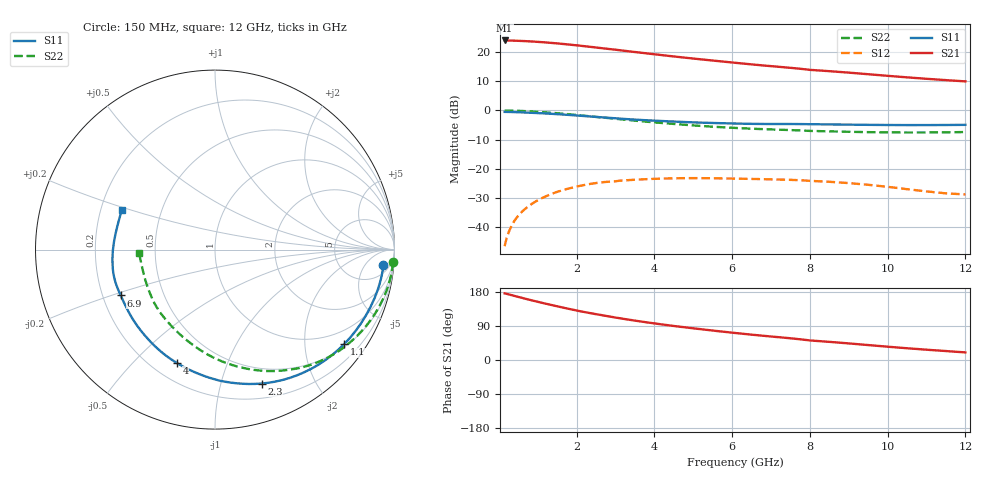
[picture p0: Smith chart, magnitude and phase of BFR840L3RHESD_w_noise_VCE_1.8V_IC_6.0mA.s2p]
! Infineon Technologies  Discrete & RF Semiconductors
! BFR840L3RHESD
! VCE =  1.8 V,  IC =  6.0 mA
! Common Emitter S-Parameters:  Jun 2012
# GHz  S  MA  R  50
!  f  S11  S21  S12  S22
! GHz  MAG  ANG  MAG  ANG  MAG  ANG  MAG  ANG
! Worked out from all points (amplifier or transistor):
!   91 points, 150 MHz to 12 GHz, reference 50 ohm
!   highest |S21| = 24.0 dB at 150 MHz (marker M1)
!   |S21| within 3 dB of that: start of sweep to 2.885 GHz
!   unconditionally stable (mu >= 1): 9.067 GHz to end of sweep
!   at 1.3 GHz: K = 0.10, MSG = 26.1 dB, |S12| = -28.9 dB
!   at 4.3 GHz: K = 0.31, MSG = 21.1 dB, |S12| = -23.3 dB
!   at 12 GHz: K = 2.33, MAG = 12.9 dB, |S12| = -28.8 dB
!   lowest NFmin = 0.53 dB at 450 MHz
!   S11 on the Smith chart (normalised r, x): 150 MHz: 10, -15; 1.1 GHz: 0.57, -2.95; 2.3 GHz: 0.34, -1.35; 4 GHz: 0.30, -0.68; 6.9 GHz: 0.28, -0.21; 12 GHz: 0.29, +0.19
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0.15  0.942 -5.1  15.79 175.8  0.0047 78.1  0.9949 -4.1
0.35  0.9366 -11.9  15.69 170.6  0.0112 76.4  0.9891 -9.7
0.6  0.9234 -20.3  15.47 163.9  0.0184 74.9  0.9757 -16.4
0.9  0.905 -30.0  15.1 156.1  0.0262 69.2  0.9527 -24.2
1.1  0.8916 -36.3  14.79 151.2  0.0311 64.9  0.9344 -29.2
1.4  0.8694 -45.3  14.25 144.1  0.0379 59.1  0.9041 -36.6
1.7  0.8443 -54.2  13.66 137.2  0.0439 54.0  0.8706 -43.6
1.9  0.8266 -60.0  13.24 132.8  0.0476 50.8  0.8467 -48.1
2.2  0.7992 -68.2  12.6 126.6  0.0526 45.9  0.8095 -54.6
2.3  0.7901 -70.8  12.39 124.7  0.0541 44.2  0.7971 -56.6
2.8  0.7475 -82.9  11.34 115.6  0.0596 37.3  0.7398 -66.2
3.2  0.7155 -92.2  10.56 108.7  0.0629 32.0  0.6959 -73.5
3.6  0.6885 -100.7  9.834 102.4  0.0652 27.5  0.6571 -80.3
4  0.6665 -108.6  9.163 96.6  0.067 23.5  0.623 -86.6
4.2  0.6568 -112.4  8.848 93.8  0.0677 21.6  0.6074 -89.7
5.1  0.6196 -128.2  7.614 82.4  0.0689 14.2  0.5466 -102.7
6.1  0.5945 -143.4  6.522 71.1  0.0676 7.0  0.4994 -116.2
6.9  0.5842 -154.1  5.809 63.0  0.0659 2.9  0.474 -126.4
8  0.5792 -169.5  4.949 51.6  0.0619 -3.1  0.4447 -141.6
8.5  0.5745 -174.3  4.701 47.9  0.0597 -5.1  0.4366 -146.2
10.5  0.5596 167.1  3.681 31.0  0.0446 -9.1  0.4178 -166.1
12  0.5646 157.0  3.14 20.0  0.0362 1.8  0.4253 -177.6
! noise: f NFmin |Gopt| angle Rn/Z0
0.45  0.53  0.47  6  0.18
0.9  0.57  0.47  11  0.18
1.9  0.6  0.48  29  0.17
3.5  0.62  0.48  47  0.15
4  0.64  0.47  55  0.15
5.5  0.68  0.47  70  0.13
7  0.75  0.46  91  0.12
8  0.81  0.43  100  0.11
10  0.94  0.39  123  0.1
12  1.11  0.33  153  0.09
